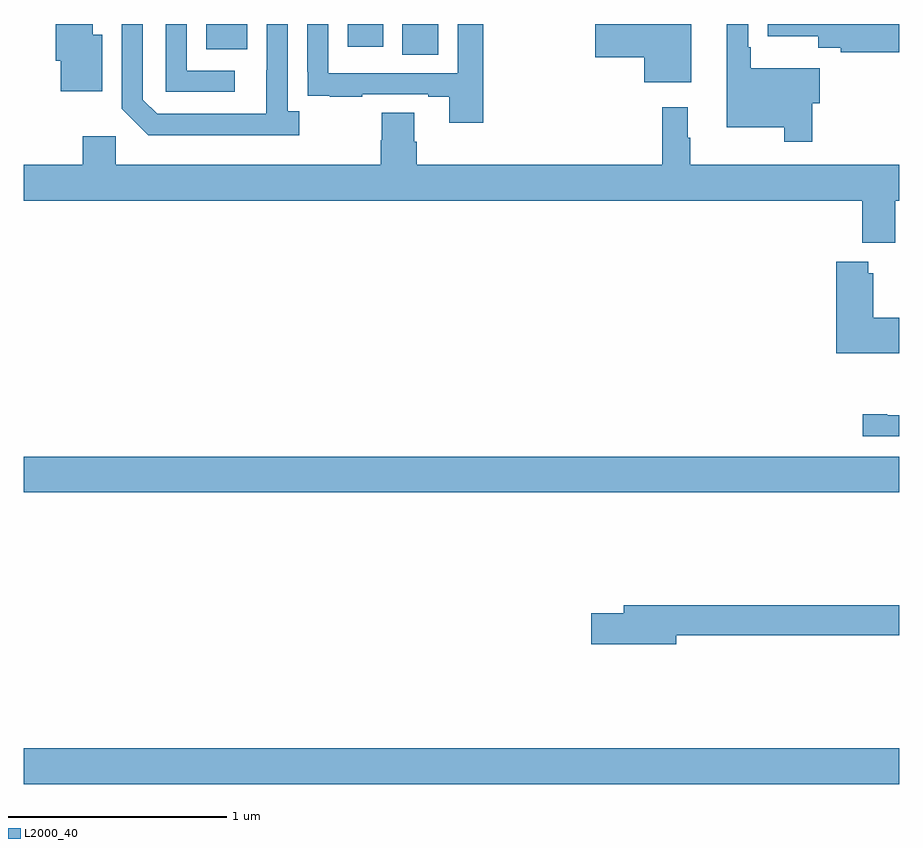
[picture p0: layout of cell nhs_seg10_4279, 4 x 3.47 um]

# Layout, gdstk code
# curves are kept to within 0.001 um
import gdstk
lib = gdstk.Library(unit=1e-6, precision=1e-09)
def R(c, l, rs):  # rectangles x0, y0, x1, y1
    for r in rs: c.add(gdstk.rectangle(r[:2], r[2:], *l))
def P(c, l, *ps):  # polygons
    for p in ps: c.add(gdstk.Polygon(p, *l))
L2000_40 = (2000, 40)

nhs_seg10_4279 = lib.new_cell('nhs_seg10_4279')
R(nhs_seg10_4279, L2000_40, [(351,1255.028,355,1255.192), (351,1256.36,355,1256.524), (352.73,1258.36,352.894,1258.5), (351.833,1258.385,352.021,1258.5), (352.481,1258.395,352.642,1258.5)])
P(nhs_seg10_4279, L2000_40, [(352.258,1258.102),(352.206,1258.102),(352.206,1258.5),(352.11,1258.5),(352.109,1258.089),(351.609,1258.089),(351.543,1258.155),(351.543,1258.5),(351.447,1258.5),(351.447,1258.113),(351.568,1257.992),(352.258,1257.992)],
  [(351.358,1258.45),(351.316,1258.45),(351.316,1258.5),(351.146,1258.5),(351.146,1258.332),(351.17,1258.332),(351.17,1258.193),(351.358,1258.193)],
  [(351.964,1258.287),(351.744,1258.287),(351.744,1258.5),(351.648,1258.5),(351.648,1258.191),(351.964,1258.191)],
  [(353.099,1258.5),(352.983,1258.5),(352.983,1258.275),(352.392,1258.275),(352.392,1258.5),(352.296,1258.5),(352.296,1258.282),(352.297,1258.282),(352.297,1258.173),(352.399,1258.173),(352.399,1258.167),(352.547,1258.167),(352.547,1258.179),(352.847,1258.179),(352.847,1258.167),(352.943,1258.167),(352.943,1258.05),(353.099,1258.05)],
  [(354.049,1258.5),(353.61,1258.5),(353.61,1258.349),(353.834,1258.349),(353.834,1258.235),(354.049,1258.235)],
  [(354.602,1258.139),(354.637,1258.139),(354.637,1258.297),(354.322,1258.297),(354.322,1258.393),(354.309,1258.393),(354.309,1258.5),(354.212,1258.5),(354.212,1258.028),(354.474,1258.028),(354.474,1257.963),(354.602,1257.963)],
  [(355,1258.5),(354.398,1258.5),(354.398,1258.445),(354.629,1258.445),(354.629,1258.391),(354.733,1258.391),(354.733,1258.372),(355,1258.372)],
  [(354.982,1257.692),(355,1257.692),(355,1257.856),(354.046,1257.856),(354.046,1257.98),(354.034,1257.98),(354.034,1258.12),(353.917,1258.12),(353.917,1257.856),(352.796,1257.856),(352.796,1257.962),(352.783,1257.962),(352.783,1258.094),(352.636,1258.094),(352.636,1257.969),(352.631,1257.969),(352.631,1257.856),(351.42,1257.856),(351.42,1257.988),(351.269,1257.988),(351.269,1257.856),(351,1257.856),(351,1257.692),(354.83,1257.692),(354.83,1257.5),(354.982,1257.5)],
  [(355,1257.159),(354.88,1257.159),(354.88,1257.361),(354.858,1257.361),(354.858,1257.415),(354.713,1257.415),(354.713,1256.996),(355,1256.996)],
  [(355,1256.712),(354.946,1256.712),(354.946,1256.717),(354.834,1256.717),(354.834,1256.616),(355,1256.616)],
  [(353.98,1255.708),(355,1255.708),(355,1255.844),(353.741,1255.844),(353.741,1255.808),(353.592,1255.808),(353.592,1255.666),(353.98,1255.666)])

lib.write_gds('nhs_seg10_4279.gds')
